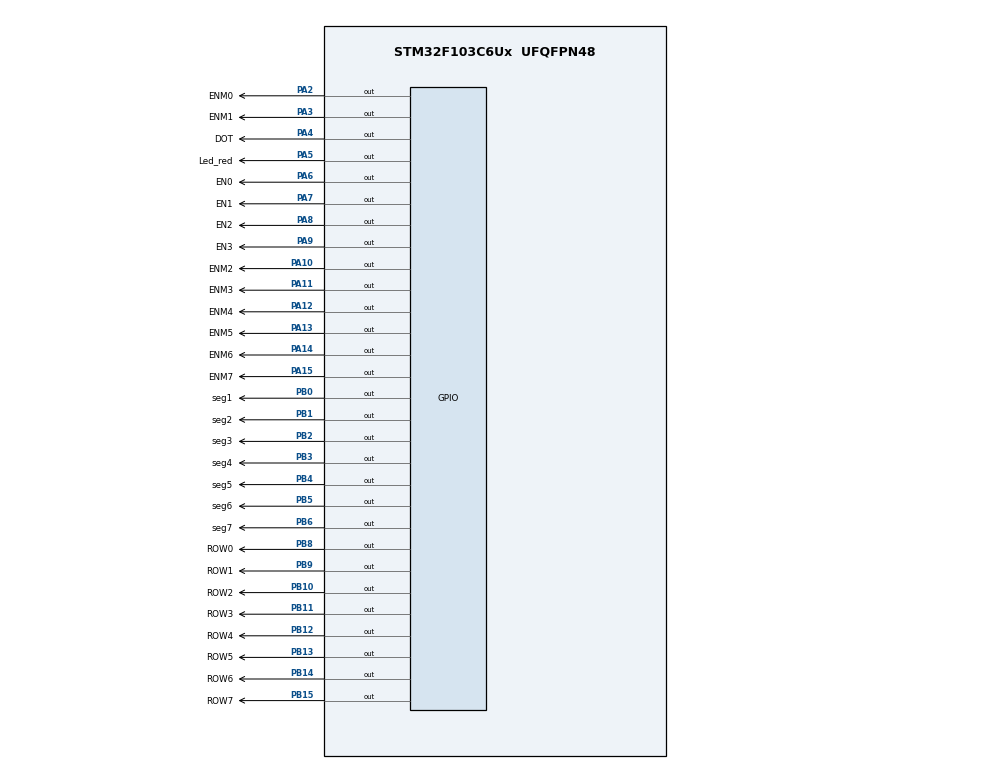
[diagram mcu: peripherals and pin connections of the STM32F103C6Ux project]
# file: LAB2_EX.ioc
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Mcu.Family=STM32F1
Mcu.Name=STM32F103C6Ux
Mcu.Package=UFQFPN48
NVIC.PriorityGroup=NVIC_PRIORITYGROUP_4
NVIC.TIM2_IRQn=true\:0\:0\:false\:false\:true\:true\:true
PA10.GPIO_Label=ENM2
PA10.Signal=GPIO_Output
PA11.GPIO_Label=ENM3
PA11.Signal=GPIO_Output
PA12.GPIO_Label=ENM4
PA12.Signal=GPIO_Output
PA13.GPIO_Label=ENM5
PA13.Signal=GPIO_Output
PA14.GPIO_Label=ENM6
PA14.Signal=GPIO_Output
PA15.GPIO_Label=ENM7
PA15.Signal=GPIO_Output
PA2.GPIO_Label=ENM0
PA2.Signal=GPIO_Output
PA3.GPIO_Label=ENM1
PA3.Signal=GPIO_Output
PA4.GPIO_Label=DOT
PA4.Signal=GPIO_Output
PA5.GPIO_Label=Led_red
PA5.Signal=GPIO_Output
PA6.GPIO_Label=EN0
PA6.Signal=GPIO_Output
PA7.GPIO_Label=EN1
PA7.Signal=GPIO_Output
PA8.GPIO_Label=EN2
PA8.Signal=GPIO_Output
PA9.GPIO_Label=EN3
PA9.Signal=GPIO_Output
PB0.GPIO_Label=seg1
PB0.Signal=GPIO_Output
PB1.GPIO_Label=seg2
PB1.Signal=GPIO_Output
PB10.GPIO_Label=ROW2
PB10.Signal=GPIO_Output
PB11.GPIO_Label=ROW3
PB11.Signal=GPIO_Output
PB12.GPIO_Label=ROW4
PB12.Signal=GPIO_Output
PB13.GPIO_Label=ROW5
PB13.Signal=GPIO_Output
PB14.GPIO_Label=ROW6
PB14.Signal=GPIO_Output
PB15.GPIO_Label=ROW7
PB15.Signal=GPIO_Output
PB2.GPIO_Label=seg3
PB2.Signal=GPIO_Output
PB3.GPIO_Label=seg4
PB3.Signal=GPIO_Output
PB4.GPIO_Label=seg5
PB4.Signal=GPIO_Output
PB5.GPIO_Label=seg6
PB5.Signal=GPIO_Output
PB6.GPIO_Label=seg7
PB6.Signal=GPIO_Output
PB8.GPIO_Label=ROW0
PB8.Signal=GPIO_Output
PB9.GPIO_Label=ROW1
PB9.Signal=GPIO_Output
ProjectManager.HeapSize=0x200
ProjectManager.StackSize=0x400
ProjectManager.TargetToolchain=STM32CubeIDE
RCC.APB1Freq_Value=8000000
RCC.APB2Freq_Value=8000000
TIM2.Period=9
TIM2.Prescaler=7999
VP_SYS_VS_ND.Mode=No_Debug
VP_TIM2_VS_ClockSourceINT.Mode=Internal
board=custom

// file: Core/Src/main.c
/* USER CODE BEGIN Header */
/**
  ******************************************************************************
  * @file           : main.c
  * @brief          : Main program body
  ******************************************************************************
  * @attention
  *
  * <h2><center>&copy; Copyright (c) 2024 STMicroelectronics.
  * All rights reserved.</center></h2>
  *
  * This software component is licensed by ST under BSD 3-Clause license,
  * the "License"; You may not use this file except in compliance with the
  * License. You may obtain a copy of the License at:
  *                        opensource.org/licenses/BSD-3-Clause
  *
  ******************************************************************************
  */
/* USER CODE END Header */
#include <bai4.h>
#include "main.h"

TIM_HandleTypeDef htim2;

void SystemClock_Config(void);
static void MX_TIM2_Init(void);
static void MX_GPIO_Init(void);

int main(void)
{

  /* MCU Configuration--------------------------------------------------------*/

  /* Reset of all peripherals, Initializes the Flash interface and the Systick. */
  HAL_Init();

  /* Configure the system clock */
  SystemClock_Config();

  /* Initialize all configured peripherals */
  MX_TIM2_Init();
  MX_GPIO_Init();
  /* USER CODE BEGIN 2 */
HAL_TIM_Base_Start_IT (& htim2 ) ;
  /* USER CODE END 2 */

  /* Infinite loop */
  while (1)
  {

  }
}

void SystemClock_Config(void)
{
  RCC_OscInitTypeDef RCC_OscInitStruct = {0};
  RCC_ClkInitTypeDef RCC_ClkInitStruct = {0};

  /** Initializes the RCC Oscillators according to the specified parameters
  * in the RCC_OscInitTypeDef structure.
  */
  RCC_OscInitStruct.OscillatorType = RCC_OSCILLATORTYPE_HSI;
  RCC_OscInitStruct.HSIState = RCC_HSI_ON;
  RCC_OscInitStruct.HSICalibrationValue = RCC_HSICALIBRATION_DEFAULT;
  RCC_OscInitStruct.PLL.PLLState = RCC_PLL_NONE;
  if (HAL_RCC_OscConfig(&RCC_OscInitStruct) != HAL_OK)
  {
    Error_Handler();
  }
  /** Initializes the CPU, AHB and APB buses clocks
  */
  RCC_ClkInitStruct.ClockType = RCC_CLOCKTYPE_HCLK|RCC_CLOCKTYPE_SYSCLK
                              |RCC_CLOCKTYPE_PCLK1|RCC_CLOCKTYPE_PCLK2;
  RCC_ClkInitStruct.SYSCLKSource = RCC_SYSCLKSOURCE_HSI;
  RCC_ClkInitStruct.AHBCLKDivider = RCC_SYSCLK_DIV1;
  RCC_ClkInitStruct.APB1CLKDivider = RCC_HCLK_DIV1;
  RCC_ClkInitStruct.APB2CLKDivider = RCC_HCLK_DIV1;

  if (HAL_RCC_ClockConfig(&RCC_ClkInitStruct, FLASH_LATENCY_0) != HAL_OK)
  {
    Error_Handler();
  }
}

static void MX_TIM2_Init(void)
{

  TIM_ClockConfigTypeDef sClockSourceConfig = {0};
  TIM_MasterConfigTypeDef sMasterConfig = {0};

  htim2.Instance = TIM2;
  htim2.Init.Prescaler = 7999;
  htim2.Init.CounterMode = TIM_COUNTERMODE_UP;
  htim2.Init.Period = 9;
  htim2.Init.ClockDivision = TIM_CLOCKDIVISION_DIV1;
  htim2.Init.AutoReloadPreload = TIM_AUTORELOAD_PRELOAD_DISABLE;
  if (HAL_TIM_Base_Init(&htim2) != HAL_OK)
  {
    Error_Handler();
  }
  sClockSourceConfig.ClockSource = TIM_CLOCKSOURCE_INTERNAL;
  if (HAL_TIM_ConfigClockSource(&htim2, &sClockSourceConfig) != HAL_OK)
  {
    Error_Handler();
  }
  sMasterConfig.MasterOutputTrigger = TIM_TRGO_RESET;
  sMasterConfig.MasterSlaveMode = TIM_MASTERSLAVEMODE_DISABLE;
  if (HAL_TIMEx_MasterConfigSynchronization(&htim2, &sMasterConfig) != HAL_OK)
  {
    Error_Handler();
  }

}

static void MX_GPIO_Init(void)
{
  GPIO_InitTypeDef GPIO_InitStruct = {0};

  /* GPIO Ports Clock Enable */
  __HAL_RCC_GPIOA_CLK_ENABLE();
  __HAL_RCC_GPIOB_CLK_ENABLE();

  /*Configure GPIO pin Output Level */
  HAL_GPIO_WritePin(GPIOA, DOT_Pin|Led_red_Pin|EN0_Pin|EN1_Pin
                          |EN3_Pin|EN2_Pin, GPIO_PIN_RESET);

  /*Configure GPIO pin Output Level */
  HAL_GPIO_WritePin(GPIOB, seg1_Pin|seg2_Pin|seg3_Pin|seg4_Pin
                          |seg5_Pin|seg6_Pin|seg7_Pin, GPIO_PIN_RESET);

  /*Configure GPIO pins : DOT_Pin Led_red_Pin EN0_Pin EN1_Pin
                           EN3_Pin EN2_Pin */
  GPIO_InitStruct.Pin = DOT_Pin|Led_red_Pin|EN0_Pin|EN1_Pin
                          |EN3_Pin|EN2_Pin;
  GPIO_InitStruct.Mode = GPIO_MODE_OUTPUT_PP;
  GPIO_InitStruct.Pull = GPIO_NOPULL;
  GPIO_InitStruct.Speed = GPIO_SPEED_FREQ_LOW;
  HAL_GPIO_Init(GPIOA, &GPIO_InitStruct);

  /*Configure GPIO pins : seg1_Pin seg2_Pin seg3_Pin seg4_Pin
                           seg5_Pin seg6_Pin seg7_Pin */
  GPIO_InitStruct.Pin = seg1_Pin|seg2_Pin|seg3_Pin|seg4_Pin
                          |seg5_Pin|seg6_Pin|seg7_Pin;
  GPIO_InitStruct.Mode = GPIO_MODE_OUTPUT_PP;
  GPIO_InitStruct.Pull = GPIO_NOPULL;
  GPIO_InitStruct.Speed = GPIO_SPEED_FREQ_LOW;
  HAL_GPIO_Init(GPIOB, &GPIO_InitStruct);

}

/* USER CODE BEGIN 4 */

int counter7Seg = 25;
int counterDot = 100;
int index_led =0;
void HAL_TIM_PeriodElapsedCallback ( TIM_HandleTypeDef * htim )
{
    if( counterDot <= 0) {
        counterDot = 100;
        HAL_GPIO_TogglePin ( GPIOA, GPIO_PIN_4 );
    }
    else {
        --counterDot;
    }

    if( counter7Seg <= 0) {
        counter7Seg = 25;
        update7SEG(index_led);
        ++index_led;
        if(index_led>=4) index_led=0;
    }
    else {
        --counter7Seg;
    }

}

/* USER CODE END 4 */

void Error_Handler(void)
{
  __disable_irq();
  while (1)
  {
  }
}

/************************ (C) COPYRIGHT STMicroelectronics *****END OF FILE****/
